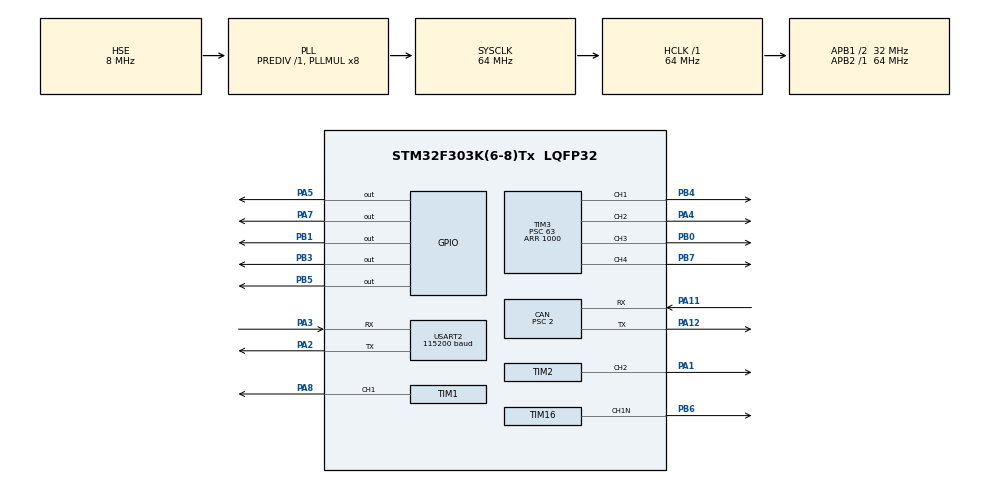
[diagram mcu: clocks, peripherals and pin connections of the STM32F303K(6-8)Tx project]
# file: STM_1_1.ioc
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CAN.BS1=CAN_BS1_11TQ
CAN.BS2=CAN_BS2_4TQ
CAN.CalculateBaudRate=1000000
CAN.CalculateTimeBit=1000
CAN.CalculateTimeQuantum=62.5
CAN.Prescaler=2
Mcu.Family=STM32F3
Mcu.Name=STM32F303K(6-8)Tx
Mcu.Package=LQFP32
NVIC.CAN_RX0_IRQn=true\:0\:0\:false\:false\:true\:true\:true\:true
NVIC.PriorityGroup=NVIC_PRIORITYGROUP_4
PA1.Signal=S_TIM2_CH2
PA11.Mode=CAN_Activate
PA11.Signal=CAN_RX
PA12.Mode=CAN_Activate
PA12.Signal=CAN_TX
PA13.GPIO_Label=SWDIO
PA13.Mode=Serial_Wire
PA13.Signal=SYS_JTMS-SWDIO
PA14.GPIO_Label=SWCLK
PA14.Mode=Serial_Wire
PA14.Signal=SYS_JTCK-SWCLK
PA2.Mode=Asynchronous
PA2.Signal=USART2_TX
PA3.Mode=Asynchronous
PA3.Signal=USART2_RX
PA4.Signal=S_TIM3_CH2
PA5.Signal=GPIO_Output
PA7.Signal=GPIO_Output
PA8.Signal=S_TIM1_CH1
PB0.Signal=S_TIM3_CH3
PB1.Signal=GPIO_Output
PB3.Signal=GPIO_Output
PB4.Signal=S_TIM3_CH1
PB5.Signal=GPIO_Output
PB6.Mode=PWM Generation1 CH1N
PB6.Signal=TIM16_CH1N
PB7.Signal=S_TIM3_CH4
PF0\ /\ OSC_IN.Mode=HSE-External-Oscillator
PF0\ /\ OSC_IN.Signal=RCC_OSC_IN
PF1\ /\ OSC_OUT.Mode=HSE-External-Oscillator
PF1\ /\ OSC_OUT.Signal=RCC_OSC_OUT
ProjectManager.HeapSize=0x200
ProjectManager.StackSize=0x400
ProjectManager.TargetToolchain=STM32CubeIDE
RCC.AHBFreq_Value=64000000
RCC.APB1CLKDivider=RCC_HCLK_DIV2
RCC.APB1Freq_Value=32000000
RCC.APB1TimFreq_Value=64000000
RCC.APB2Freq_Value=64000000
RCC.APB2TimFreq_Value=64000000
RCC.CortexFreq_Value=64000000
RCC.HCLKFreq_Value=64000000
RCC.HSE_VALUE=8000000
RCC.HSI_VALUE=8000000
RCC.PLLMUL=RCC_PLL_MUL8
RCC.PLLSourceVirtual=RCC_PLLSOURCE_HSE
RCC.SYSCLKFreq_VALUE=64000000
RCC.SYSCLKSourceVirtual=RCC_SYSCLKSOURCE_PLLCLK
SH.S_TIM1_CH1.0=TIM1_CH1,Output Compare1 CH1
SH.S_TIM2_CH2.0=TIM2_CH2,PWM Generation2 CH2
SH.S_TIM3_CH1.0=TIM3_CH1,PWM Generation1 CH1
SH.S_TIM3_CH2.0=TIM3_CH2,PWM Generation2 CH2
SH.S_TIM3_CH3.0=TIM3_CH3,PWM Generation3 CH3
SH.S_TIM3_CH4.0=TIM3_CH4,PWM Generation4 CH4
TIM1.Channel-Output\ Compare1\ CH1=TIM_CHANNEL_1
TIM1.Period=1000
TIM1.Prescaler=64
TIM16.Channel=TIM_CHANNEL_1
TIM16.Period=1000
TIM16.Prescaler=64
TIM2.Channel-PWM\ Generation2\ CH2=TIM_CHANNEL_2
TIM2.Period=1000
TIM2.Prescaler=63
TIM3.Channel-PWM\ Generation1\ CH1=TIM_CHANNEL_1
TIM3.Channel-PWM\ Generation2\ CH2=TIM_CHANNEL_2
TIM3.Channel-PWM\ Generation3\ CH3=TIM_CHANNEL_3
TIM3.Channel-PWM\ Generation4\ CH4=TIM_CHANNEL_4
TIM3.Period=1000
TIM3.Prescaler=63
USART2.BaudRate=115200
USART2.VirtualMode-Asynchronous=VM_ASYNC
VP_TIM16_VS_ClockSourceINT.Mode=Enable_Timer
VP_TIM1_VS_ClockSourceINT.Mode=Internal
VP_TIM2_VS_ClockSourceINT.Mode=Internal
VP_TIM3_VS_ClockSourceINT.Mode=Internal
board=NUCLEO-F303K8

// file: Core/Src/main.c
/* USER CODE BEGIN Header */
/**
 ******************************************************************************
 * @file           : main.c
 * @brief          : Main program body
 ******************************************************************************
 * @attention
 *
 * Copyright (c) 2025 STMicroelectronics.
 * All rights reserved.
 *
 * This software is licensed under terms that can be found in the LICENSE file
 * in the root directory of this software component.
 * If no LICENSE file comes with this software, it is provided AS-IS.
 *
 ******************************************************************************
 */
/* USER CODE END Header */
#include "main.h"

/* USER CODE BEGIN Includes */
#include <stdio.h>

/* USER CODE END Includes */

CAN_HandleTypeDef hcan;

TIM_HandleTypeDef htim1;
TIM_HandleTypeDef htim2;
TIM_HandleTypeDef htim3;
TIM_HandleTypeDef htim16;

UART_HandleTypeDef huart2;

void        SystemClock_Config(void);
static void MX_GPIO_Init(void);
static void MX_USART2_UART_Init(void);
static void MX_CAN_Init(void);
static void MX_TIM2_Init(void);
static void MX_TIM3_Init(void);
static void MX_TIM16_Init(void);
static void MX_TIM1_Init(void);

/* USER CODE BEGIN 0 */
uint8_t  use_data[8];
uint32_t id;
int      i = 0;
void     CAN_TX(uint32_t recipient) {
    // 送信用インスタンス等
    CAN_TxHeaderTypeDef TxHeader;
    uint32_t            TxMailbox;
    uint8_t             TxData[8];
    // 送信メールボックスに空きがあったら送信開始
    if (0 < HAL_CAN_GetTxMailboxesFreeLevel(&hcan)) {
        // 送信用インスタンスの設定
        TxHeader.StdId              = recipient; // 受取手のCANのID
        TxHeader.RTR                = CAN_RTR_DATA;
        TxHeader.IDE                = CAN_ID_STD;
        TxHeader.DLC                = 8; // データ長を8byteに設定
        TxHeader.TransmitGlobalTime = DISABLE;
        // 各データ
        TxData[0] = 0;
        TxData[1] = 1;
        TxData[2] = 2;
        TxData[3] = 3;
        TxData[4] = 4;
        TxData[5] = 5;
        TxData[6] = 6;
        if (i == 10) {
            i = 0;
        }
        TxData[7] = i;
        // CANメッセージを送信
        if (HAL_CAN_AddTxMessage(&hcan, &TxHeader, TxData, &TxMailbox) != HAL_OK) {
            Error_Handler();
        }
        i++;
    }
}

void HAL_CAN_RxFifo0MsgPendingCallback(CAN_HandleTypeDef* hcan) {
    CAN_RxHeaderTypeDef RxHeader;  // 受信メッセージの情報が格納されるインスタンス
    uint8_t             RxData[8]; // 受信したデータを一時保存する配列
    if (HAL_CAN_GetRxMessage(hcan, CAN_RX_FIFO0, &RxHeader, RxData) == HAL_OK) {
        id = RxHeader.StdId; // RxHeaderの中に入っているidを取り出す
        if (id == 0x001) {
            for (int i = 0; i <= 7; i++) {
                use_data[i] = RxData[i];
            }
        }
    }
}

int _write(int file, char* ptr, int len) {
    HAL_UART_Transmit(&huart2, (uint8_t*)ptr, len, 10);
    return len;
}

/* USER CODE END 0 */

int main(void) {

    /* USER CODE BEGIN 1 */
    setbuf(stdout, NULL);

    /* USER CODE END 1 */

    /* MCU Configuration--------------------------------------------------------*/

    /* Reset of all peripherals, Initializes the Flash interface and the Systick. */
    HAL_Init();

    /* Configure the system clock */
    SystemClock_Config();

    /* Initialize all configured peripherals */
    MX_GPIO_Init();
    MX_USART2_UART_Init();
    MX_CAN_Init();
    MX_TIM2_Init();
    MX_TIM3_Init();
    MX_TIM16_Init();
    MX_TIM1_Init();
    /* USER CODE BEGIN 2 */

    // CANスタート
    HAL_CAN_Start(&hcan);
    // 割り込み有効
    HAL_CAN_ActivateNotification(&hcan, CAN_IT_RX_FIFO0_MSG_PENDING);

    HAL_TIM_PWM_Start(&htim1, TIM_CHANNEL_1);
    HAL_TIM_PWM_Start(&htim2, TIM_CHANNEL_2);
    HAL_TIM_PWM_Start(&htim3, TIM_CHANNEL_2);
    HAL_TIM_PWM_Start(&htim3, TIM_CHANNEL_3);
    HAL_TIM_PWM_Start(&htim3, TIM_CHANNEL_1);
    HAL_TIM_PWM_Start(&htim3, TIM_CHANNEL_4);
    HAL_TIM_PWM_Start(&htim16, TIM_CHANNEL_1);
    /* USER CODE END 2 */

    /* Infinite loop */
    while (1) {

        /* USER CODE BEGIN 3 */
        //	  PWM_test_T1_C1
        //	  PWM2_T3_T3 DIR2_B1
        //	  PWM3_T2_C2 DIR3_B3
        //	  PWM4_T3_C2 DIR4_A5
        //	  PWM5_T3_C1 DIR5_B5
        //	  PWM6_T16_1N DIR6_B7
        //	  HAL_GPIO_WritePin(GPIOA, GPIO_PIN_5|GPIO_PIN_7, GPIO_PIN_RESET);
        //	  HAL_GPIO_WritePin(GPIOB, GPIO_PIN_1|GPIO_PIN_3|GPIO_PIN_5, GPIO_PIN_RESET);

        HAL_GPIO_WritePin(GPIOA, GPIO_PIN_1, 1);
        __HAL_TIM_SET_COMPARE(&htim1, TIM_CHANNEL_1, 500);

        HAL_GPIO_WritePin(GPIOA, GPIO_PIN_3, 1);
        __HAL_TIM_SET_COMPARE(&htim3, TIM_CHANNEL_2, 500);

        HAL_GPIO_WritePin(GPIOB, GPIO_PIN_1, 1);
        __HAL_TIM_SET_COMPARE(&htim3, TIM_CHANNEL_2, 500);

        HAL_GPIO_WritePin(GPIOA, GPIO_PIN_5, 1);
        __HAL_TIM_SET_COMPARE(&htim3, TIM_CHANNEL_2, 500);

        HAL_GPIO_WritePin(GPIOB, GPIO_PIN_5, 1);
        __HAL_TIM_SET_COMPARE(&htim3, TIM_CHANNEL_2, 500);

        HAL_GPIO_WritePin(GPIOA, GPIO_PIN_7, 1);
        __HAL_TIM_SET_COMPARE(&htim16, TIM_CHANNEL_1, 1000 - 500);

        CAN_TX(0x001);
        printf("Receiver\r\n");
        printf("%d\r\n", use_data[0]);
        printf("%d\r\n", use_data[1]);
        printf("%d\r\n", use_data[2]);
        printf("%d\r\n", use_data[3]);
        printf("%d\r\n", use_data[4]);
        printf("%d\r\n", use_data[5]);
        printf("%d\r\n", use_data[6]);
        printf("%d\r\n", use_data[7]);
        HAL_Delay(100);
    }
    /* USER CODE END 3 */
}

void SystemClock_Config(void) {
    RCC_OscInitTypeDef       RCC_OscInitStruct = {0};
    RCC_ClkInitTypeDef       RCC_ClkInitStruct = {0};
    RCC_PeriphCLKInitTypeDef PeriphClkInit     = {0};

    /** Initializes the RCC Oscillators according to the specified parameters
     * in the RCC_OscInitTypeDef structure.
     */
    RCC_OscInitStruct.OscillatorType = RCC_OSCILLATORTYPE_HSE;
    RCC_OscInitStruct.HSEState       = RCC_HSE_ON;
    RCC_OscInitStruct.HSEPredivValue = RCC_HSE_PREDIV_DIV1;
    RCC_OscInitStruct.HSIState       = RCC_HSI_ON;
    RCC_OscInitStruct.PLL.PLLState   = RCC_PLL_ON;
    RCC_OscInitStruct.PLL.PLLSource  = RCC_PLLSOURCE_HSE;
    RCC_OscInitStruct.PLL.PLLMUL     = RCC_PLL_MUL8;
    if (HAL_RCC_OscConfig(&RCC_OscInitStruct) != HAL_OK) {
        Error_Handler();
    }

    /** Initializes the CPU, AHB and APB buses clocks
     */
    RCC_ClkInitStruct.ClockType      = RCC_CLOCKTYPE_HCLK | RCC_CLOCKTYPE_SYSCLK | RCC_CLOCKTYPE_PCLK1 | RCC_CLOCKTYPE_PCLK2;
    RCC_ClkInitStruct.SYSCLKSource   = RCC_SYSCLKSOURCE_PLLCLK;
    RCC_ClkInitStruct.AHBCLKDivider  = RCC_SYSCLK_DIV1;
    RCC_ClkInitStruct.APB1CLKDivider = RCC_HCLK_DIV2;
    RCC_ClkInitStruct.APB2CLKDivider = RCC_HCLK_DIV1;

    if (HAL_RCC_ClockConfig(&RCC_ClkInitStruct, FLASH_LATENCY_2) != HAL_OK) {
        Error_Handler();
    }
    PeriphClkInit.PeriphClockSelection = RCC_PERIPHCLK_TIM1;
    PeriphClkInit.Tim1ClockSelection   = RCC_TIM1CLK_HCLK;
    if (HAL_RCCEx_PeriphCLKConfig(&PeriphClkInit) != HAL_OK) {
        Error_Handler();
    }
}

static void MX_CAN_Init(void) {

    hcan.Instance                  = CAN;
    hcan.Init.Prescaler            = 2;
    hcan.Init.Mode                 = CAN_MODE_NORMAL;
    hcan.Init.SyncJumpWidth        = CAN_SJW_1TQ;
    hcan.Init.TimeSeg1             = CAN_BS1_11TQ;
    hcan.Init.TimeSeg2             = CAN_BS2_4TQ;
    hcan.Init.TimeTriggeredMode    = DISABLE;
    hcan.Init.AutoBusOff           = DISABLE;
    hcan.Init.AutoWakeUp           = DISABLE;
    hcan.Init.AutoRetransmission   = DISABLE;
    hcan.Init.ReceiveFifoLocked    = DISABLE;
    hcan.Init.TransmitFifoPriority = DISABLE;
    if (HAL_CAN_Init(&hcan) != HAL_OK) {
        Error_Handler();
    }
    /* USER CODE BEGIN CAN_Init 2 */
    CAN_FilterTypeDef filter;
    filter.FilterIdHigh         = 0x001 << 5;            // フィルターID1
    filter.FilterIdLow          = 0x002 << 5;            // フィルターID2
    filter.FilterMaskIdHigh     = 0x003 << 5;            // フィルターID3
    filter.FilterMaskIdLow      = 0x004 << 5;            // フィルターID4
    filter.FilterScale          = CAN_FILTERSCALE_16BIT; // 16モード
    filter.FilterFIFOAssignment = CAN_FILTER_FIFO0;      // FIFO0へ格納
    filter.FilterBank           = 0;
    filter.FilterMode           = CAN_FILTERMODE_IDLIST; // IDリストモード
    filter.SlaveStartFilterBank = 14;
    filter.FilterActivation     = ENABLE;

    HAL_CAN_ConfigFilter(&hcan, &filter);

    /* USER CODE END CAN_Init 2 */
}

static void MX_TIM1_Init(void) {

    TIM_ClockConfigTypeDef         sClockSourceConfig   = {0};
    TIM_MasterConfigTypeDef        sMasterConfig        = {0};
    TIM_OC_InitTypeDef             sConfigOC            = {0};
    TIM_BreakDeadTimeConfigTypeDef sBreakDeadTimeConfig = {0};

    htim1.Instance               = TIM1;
    htim1.Init.Prescaler         = 64;
    htim1.Init.CounterMode       = TIM_COUNTERMODE_UP;
    htim1.Init.Period            = 1000;
    htim1.Init.ClockDivision     = TIM_CLOCKDIVISION_DIV1;
    htim1.Init.RepetitionCounter = 0;
    htim1.Init.AutoReloadPreload = TIM_AUTORELOAD_PRELOAD_DISABLE;
    if (HAL_TIM_Base_Init(&htim1) != HAL_OK) {
        Error_Handler();
    }
    sClockSourceConfig.ClockSource = TIM_CLOCKSOURCE_INTERNAL;
    if (HAL_TIM_ConfigClockSource(&htim1, &sClockSourceConfig) != HAL_OK) {
        Error_Handler();
    }
    if (HAL_TIM_OC_Init(&htim1) != HAL_OK) {
        Error_Handler();
    }
    sMasterConfig.MasterOutputTrigger  = TIM_TRGO_RESET;
    sMasterConfig.MasterOutputTrigger2 = TIM_TRGO2_RESET;
    sMasterConfig.MasterSlaveMode      = TIM_MASTERSLAVEMODE_DISABLE;
    if (HAL_TIMEx_MasterConfigSynchronization(&htim1, &sMasterConfig) != HAL_OK) {
        Error_Handler();
    }
    sConfigOC.OCMode       = TIM_OCMODE_TIMING;
    sConfigOC.Pulse        = 0;
    sConfigOC.OCPolarity   = TIM_OCPOLARITY_HIGH;
    sConfigOC.OCNPolarity  = TIM_OCNPOLARITY_HIGH;
    sConfigOC.OCFastMode   = TIM_OCFAST_DISABLE;
    sConfigOC.OCIdleState  = TIM_OCIDLESTATE_RESET;
    sConfigOC.OCNIdleState = TIM_OCNIDLESTATE_RESET;
    if (HAL_TIM_OC_ConfigChannel(&htim1, &sConfigOC, TIM_CHANNEL_1) != HAL_OK) {
        Error_Handler();
    }
    sBreakDeadTimeConfig.OffStateRunMode  = TIM_OSSR_DISABLE;
    sBreakDeadTimeConfig.OffStateIDLEMode = TIM_OSSI_DISABLE;
    sBreakDeadTimeConfig.LockLevel        = TIM_LOCKLEVEL_OFF;
    sBreakDeadTimeConfig.DeadTime         = 0;
    sBreakDeadTimeConfig.BreakState       = TIM_BREAK_DISABLE;
    sBreakDeadTimeConfig.BreakPolarity    = TIM_BREAKPOLARITY_HIGH;
    sBreakDeadTimeConfig.BreakFilter      = 0;
    sBreakDeadTimeConfig.Break2State      = TIM_BREAK2_DISABLE;
    sBreakDeadTimeConfig.Break2Polarity   = TIM_BREAK2POLARITY_HIGH;
    sBreakDeadTimeConfig.Break2Filter     = 0;
    sBreakDeadTimeConfig.AutomaticOutput  = TIM_AUTOMATICOUTPUT_DISABLE;
    if (HAL_TIMEx_ConfigBreakDeadTime(&htim1, &sBreakDeadTimeConfig) != HAL_OK) {
        Error_Handler();
    }
    HAL_TIM_MspPostInit(&htim1);
}

static void MX_TIM2_Init(void) {

    TIM_ClockConfigTypeDef  sClockSourceConfig = {0};
    TIM_MasterConfigTypeDef sMasterConfig      = {0};
    TIM_OC_InitTypeDef      sConfigOC          = {0};

    htim2.Instance               = TIM2;
    htim2.Init.Prescaler         = 63;
    htim2.Init.CounterMode       = TIM_COUNTERMODE_UP;
    htim2.Init.Period            = 1000;
    htim2.Init.ClockDivision     = TIM_CLOCKDIVISION_DIV1;
    htim2.Init.AutoReloadPreload = TIM_AUTORELOAD_PRELOAD_DISABLE;
    if (HAL_TIM_Base_Init(&htim2) != HAL_OK) {
        Error_Handler();
    }
    sClockSourceConfig.ClockSource = TIM_CLOCKSOURCE_INTERNAL;
    if (HAL_TIM_ConfigClockSource(&htim2, &sClockSourceConfig) != HAL_OK) {
        Error_Handler();
    }
    if (HAL_TIM_PWM_Init(&htim2) != HAL_OK) {
        Error_Handler();
    }
    sMasterConfig.MasterOutputTrigger = TIM_TRGO_RESET;
    sMasterConfig.MasterSlaveMode     = TIM_MASTERSLAVEMODE_DISABLE;
    if (HAL_TIMEx_MasterConfigSynchronization(&htim2, &sMasterConfig) != HAL_OK) {
        Error_Handler();
    }
    sConfigOC.OCMode     = TIM_OCMODE_PWM1;
    sConfigOC.Pulse      = 0;
    sConfigOC.OCPolarity = TIM_OCPOLARITY_HIGH;
    sConfigOC.OCFastMode = TIM_OCFAST_DISABLE;
    if (HAL_TIM_PWM_ConfigChannel(&htim2, &sConfigOC, TIM_CHANNEL_2) != HAL_OK) {
        Error_Handler();
    }
    HAL_TIM_MspPostInit(&htim2);
}

static void MX_TIM3_Init(void) {

    TIM_ClockConfigTypeDef  sClockSourceConfig = {0};
    TIM_MasterConfigTypeDef sMasterConfig      = {0};
    TIM_OC_InitTypeDef      sConfigOC          = {0};

    htim3.Instance               = TIM3;
    htim3.Init.Prescaler         = 63;
    htim3.Init.CounterMode       = TIM_COUNTERMODE_UP;
    htim3.Init.Period            = 1000;
    htim3.Init.ClockDivision     = TIM_CLOCKDIVISION_DIV1;
    htim3.Init.AutoReloadPreload = TIM_AUTORELOAD_PRELOAD_DISABLE;
    if (HAL_TIM_Base_Init(&htim3) != HAL_OK) {
        Error_Handler();
    }
    sClockSourceConfig.ClockSource = TIM_CLOCKSOURCE_INTERNAL;
    if (HAL_TIM_ConfigClockSource(&htim3, &sClockSourceConfig) != HAL_OK) {
        Error_Handler();
    }
    if (HAL_TIM_PWM_Init(&htim3) != HAL_OK) {
        Error_Handler();
    }
    sMasterConfig.MasterOutputTrigger = TIM_TRGO_RESET;
    sMasterConfig.MasterSlaveMode     = TIM_MASTERSLAVEMODE_DISABLE;
    if (HAL_TIMEx_MasterConfigSynchronization(&htim3, &sMasterConfig) != HAL_OK) {
        Error_Handler();
    }
    sConfigOC.OCMode     = TIM_OCMODE_PWM1;
    sConfigOC.Pulse      = 0;
    sConfigOC.OCPolarity = TIM_OCPOLARITY_HIGH;
    sConfigOC.OCFastMode = TIM_OCFAST_DISABLE;
    if (HAL_TIM_PWM_ConfigChannel(&htim3, &sConfigOC, TIM_CHANNEL_1) != HAL_OK) {
        Error_Handler();
    }
    if (HAL_TIM_PWM_ConfigChannel(&htim3, &sConfigOC, TIM_CHANNEL_2) != HAL_OK) {
        Error_Handler();
    }
    if (HAL_TIM_PWM_ConfigChannel(&htim3, &sConfigOC, TIM_CHANNEL_3) != HAL_OK) {
        Error_Handler();
    }
    if (HAL_TIM_PWM_ConfigChannel(&htim3, &sConfigOC, TIM_CHANNEL_4) != HAL_OK) {
        Error_Handler();
    }
    HAL_TIM_MspPostInit(&htim3);
}

static void MX_TIM16_Init(void) {

    TIM_OC_InitTypeDef             sConfigOC            = {0};
    TIM_BreakDeadTimeConfigTypeDef sBreakDeadTimeConfig = {0};

    htim16.Instance               = TIM16;
    htim16.Init.Prescaler         = 64;
    htim16.Init.CounterMode       = TIM_COUNTERMODE_UP;
    htim16.Init.Period            = 1000;
    htim16.Init.ClockDivision     = TIM_CLOCKDIVISION_DIV1;
    htim16.Init.RepetitionCounter = 0;
    htim16.Init.AutoReloadPreload = TIM_AUTORELOAD_PRELOAD_DISABLE;
    if (HAL_TIM_Base_Init(&htim16) != HAL_OK) {
        Error_Handler();
    }
    if (HAL_TIM_PWM_Init(&htim16) != HAL_OK) {
        Error_Handler();
    }
    sConfigOC.OCMode       = TIM_OCMODE_PWM1;
    sConfigOC.Pulse        = 0;
    sConfigOC.OCPolarity   = TIM_OCPOLARITY_HIGH;
    sConfigOC.OCNPolarity  = TIM_OCNPOLARITY_HIGH;
    sConfigOC.OCFastMode   = TIM_OCFAST_DISABLE;
    sConfigOC.OCIdleState  = TIM_OCIDLESTATE_RESET;
    sConfigOC.OCNIdleState = TIM_OCNIDLESTATE_RESET;
    if (HAL_TIM_PWM_ConfigChannel(&htim16, &sConfigOC, TIM_CHANNEL_1) != HAL_OK) {
        Error_Handler();
    }
    sBreakDeadTimeConfig.OffStateRunMode  = TIM_OSSR_DISABLE;
    sBreakDeadTimeConfig.OffStateIDLEMode = TIM_OSSI_DISABLE;
    sBreakDeadTimeConfig.LockLevel        = TIM_LOCKLEVEL_OFF;
    sBreakDeadTimeConfig.DeadTime         = 0;
    sBreakDeadTimeConfig.BreakState       = TIM_BREAK_DISABLE;
    sBreakDeadTimeConfig.BreakPolarity    = TIM_BREAKPOLARITY_HIGH;
    sBreakDeadTimeConfig.BreakFilter      = 0;
    sBreakDeadTimeConfig.AutomaticOutput  = TIM_AUTOMATICOUTPUT_DISABLE;
    if (HAL_TIMEx_ConfigBreakDeadTime(&htim16, &sBreakDeadTimeConfig) != HAL_OK) {
        Error_Handler();
    }
    HAL_TIM_MspPostInit(&htim16);
}

static void MX_USART2_UART_Init(void) {

    huart2.Instance                    = USART2;
    huart2.Init.BaudRate               = 115200;
    huart2.Init.WordLength             = UART_WORDLENGTH_8B;
    huart2.Init.StopBits               = UART_STOPBITS_1;
    huart2.Init.Parity                 = UART_PARITY_NONE;
    huart2.Init.Mode                   = UART_MODE_TX_RX;
    huart2.Init.HwFlowCtl              = UART_HWCONTROL_NONE;
    huart2.Init.OverSampling           = UART_OVERSAMPLING_16;
    huart2.Init.OneBitSampling         = UART_ONE_BIT_SAMPLE_DISABLE;
    huart2.AdvancedInit.AdvFeatureInit = UART_ADVFEATURE_NO_INIT;
    if (HAL_UART_Init(&huart2) != HAL_OK) {
        Error_Handler();
    }
}

static void MX_GPIO_Init(void) {
    GPIO_InitTypeDef GPIO_InitStruct = {0};

    /* GPIO Ports Clock Enable */
    __HAL_RCC_GPIOF_CLK_ENABLE();
    __HAL_RCC_GPIOA_CLK_ENABLE();
    __HAL_RCC_GPIOB_CLK_ENABLE();

    /*Configure GPIO pin Output Level */
    HAL_GPIO_WritePin(GPIOA, GPIO_PIN_5 | GPIO_PIN_7, GPIO_PIN_RESET);

    /*Configure GPIO pin Output Level */
    HAL_GPIO_WritePin(GPIOB, GPIO_PIN_1 | GPIO_PIN_3 | GPIO_PIN_5, GPIO_PIN_RESET);

    /*Configure GPIO pins : PA5 PA7 */
    GPIO_InitStruct.Pin   = GPIO_PIN_5 | GPIO_PIN_7;
    GPIO_InitStruct.Mode  = GPIO_MODE_OUTPUT_PP;
    GPIO_InitStruct.Pull  = GPIO_NOPULL;
    GPIO_InitStruct.Speed = GPIO_SPEED_FREQ_LOW;
    HAL_GPIO_Init(GPIOA, &GPIO_InitStruct);

    /*Configure GPIO pins : PB1 PB3 PB5 */
    GPIO_InitStruct.Pin   = GPIO_PIN_1 | GPIO_PIN_3 | GPIO_PIN_5;
    GPIO_InitStruct.Mode  = GPIO_MODE_OUTPUT_PP;
    GPIO_InitStruct.Pull  = GPIO_NOPULL;
    GPIO_InitStruct.Speed = GPIO_SPEED_FREQ_LOW;
    HAL_GPIO_Init(GPIOB, &GPIO_InitStruct);

}

void Error_Handler(void) {
    __disable_irq();
    while (1) {
    }
}
